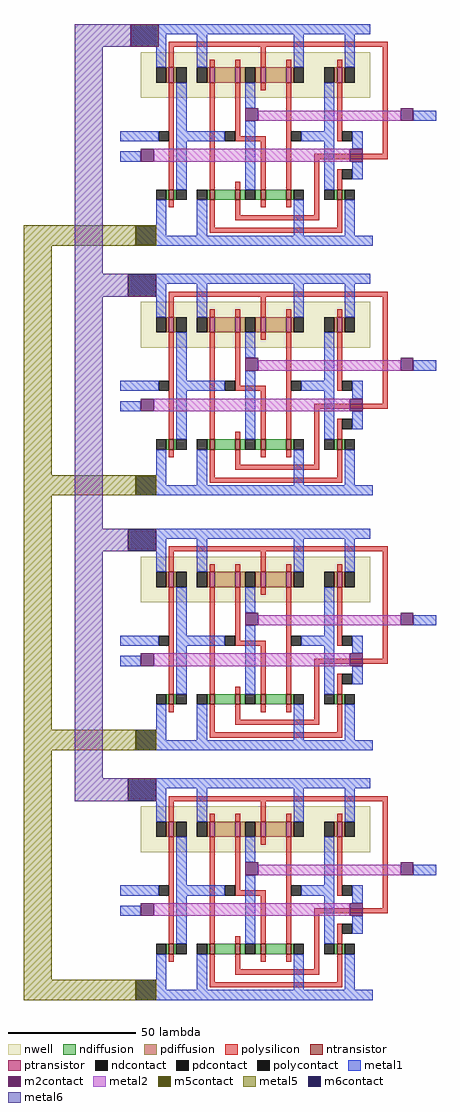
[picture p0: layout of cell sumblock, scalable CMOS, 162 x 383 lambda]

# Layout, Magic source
magic
tech scmos
<< metal1 >>
rect 4 78 15 87
rect 6 0 14 8
rect 3 -20 14 -11
rect 6 -98 14 -90
rect 3 -120 14 -111
rect 6 -198 14 -190
rect 3 -218 14 -209
rect 6 -296 14 -288
<< m5contact >>
rect 6 0 14 8
rect 6 -98 14 -90
rect 6 -198 14 -190
rect 6 -296 14 -288
<< metal5 >>
rect -38 0 6 8
rect -38 -90 -27 0
rect -38 -98 6 -90
rect -38 -190 -27 -98
rect -38 -198 6 -190
rect -38 -288 -27 -198
rect -38 -296 6 -288
<< m6contact >>
rect 4 78 15 87
rect 3 -20 14 -11
rect 3 -120 14 -111
rect 3 -218 14 -209
<< metal6 >>
rect -18 78 4 87
rect -18 -11 -7 78
rect -18 -20 3 -11
rect -18 -111 -7 -20
rect -18 -120 3 -111
rect -18 -209 -7 -120
rect -18 -218 3 -209
use xor1  xor1_0
transform 1 0 33 0 1 62
box -33 -62 91 25
use xor1  xor1_1
transform 1 0 33 0 1 -36
box -33 -62 91 25
use xor1  xor1_2
transform 1 0 33 0 1 -136
box -33 -62 91 25
use xor1  xor1_3
transform 1 0 33 0 1 -234
box -33 -62 91 25
<< end >>

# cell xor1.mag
magic
tech scmos
<< nwell >>
rect -25 -4 65 14
<< ntransistor >>
rect -14 -44 -12 -40
rect 2 -44 4 -40
rect 12 -44 14 -40
rect 22 -44 24 -40
rect 32 -44 34 -40
rect 52 -44 54 -40
<< ptransistor >>
rect -14 2 -12 8
rect 2 2 4 8
rect 12 2 14 8
rect 22 2 24 8
rect 32 2 34 8
rect 52 2 54 8
<< ndiffusion >>
rect -15 -44 -14 -40
rect -12 -44 -11 -40
rect 1 -44 2 -40
rect 4 -44 12 -40
rect 14 -44 16 -40
rect 20 -44 22 -40
rect 24 -44 32 -40
rect 34 -44 35 -40
rect 51 -44 52 -40
rect 54 -44 55 -40
<< pdiffusion >>
rect -15 2 -14 8
rect -12 2 -11 8
rect 1 2 2 8
rect 4 2 12 8
rect 14 2 16 8
rect 20 2 22 8
rect 24 2 32 8
rect 34 2 35 8
rect 51 2 52 8
rect 54 2 55 8
<< ndcontact >>
rect -19 -44 -15 -40
rect -11 -44 -7 -40
rect -3 -44 1 -40
rect 16 -44 20 -40
rect 35 -44 39 -40
rect 47 -44 51 -40
rect 55 -44 59 -40
<< pdcontact >>
rect -19 2 -15 8
rect -11 2 -7 8
rect -3 2 1 8
rect 16 2 20 8
rect 35 2 39 8
rect 47 2 51 8
rect 55 2 59 8
<< polysilicon >>
rect -14 16 72 18
rect -14 8 -12 16
rect 2 8 4 11
rect 12 8 14 11
rect 22 8 24 16
rect 32 8 34 11
rect 52 8 54 11
rect -14 -40 -12 2
rect 2 -40 4 2
rect 12 -19 14 2
rect 22 -1 24 2
rect 12 -21 24 -19
rect 12 -40 14 -37
rect 22 -40 24 -21
rect 32 -40 34 2
rect 52 -21 54 2
rect 70 -26 72 16
rect 43 -28 72 -26
rect -14 -47 -12 -44
rect 2 -55 4 -44
rect 12 -50 14 -44
rect 22 -47 24 -44
rect 32 -47 34 -44
rect 43 -50 45 -28
rect 52 -40 54 -32
rect 12 -52 45 -50
rect 52 -55 54 -44
rect 2 -57 54 -55
<< polycontact >>
rect -18 -21 -14 -17
rect 8 -21 12 -17
rect 34 -21 38 -17
rect 54 -21 58 -17
rect 54 -36 58 -32
<< metal1 >>
rect -25 21 65 25
rect -19 8 -15 21
rect -3 8 1 21
rect 35 8 39 21
rect 55 8 59 21
rect -11 -17 -7 2
rect 16 -8 20 2
rect -33 -21 -18 -17
rect -11 -21 8 -17
rect -33 -29 -25 -25
rect -11 -40 -7 -21
rect 16 -40 20 -13
rect 47 -17 51 2
rect 82 -13 91 -9
rect 38 -21 51 -17
rect 47 -40 51 -21
rect 58 -24 62 -17
rect 58 -36 62 -29
rect -19 -58 -15 -44
rect -3 -58 1 -44
rect 35 -58 39 -44
rect 55 -58 59 -44
rect -24 -62 66 -58
<< m2contact >>
rect 16 -13 21 -8
rect -25 -29 -20 -24
rect 77 -13 82 -8
rect 57 -29 62 -24
<< metal2 >>
rect 21 -13 77 -9
rect -20 -29 57 -24
<< end >>
